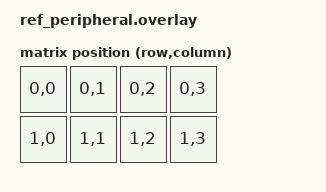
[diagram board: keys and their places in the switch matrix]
/*
 * Minimal split PERIPHERAL shield, used only by CI.
 *
 * Same fictional matrix as the dongle, and the same shared keymap: the point of
 * this target is that a peripheral compiles every binding the keymap names
 * while having no display shield, no theme nodes and no dial.
 *
 * The 2x2 matrix is a fiction. ZMK requires a transform and a keymap of
 * matching size; four positions satisfy that and leave room to bind this
 * module's behaviours as they arrive.
 */

#include <dt-bindings/zmk/matrix_transform.h>

/ {
    chosen {
        zmk,kscan = &mock_kscan0;
        /* Defining the transform is not enough — ZMK resolves
         * zmk_matrix_transform_default through this chosen entry, and the link
         * fails on an undefined reference without it. */
        zmk,matrix-transform = &keymap_transform_0;
    };

    keymap_transform_0: keymap_transform_0 {
        compatible = "zmk,matrix-transform";
        columns = <4>;
        rows = <2>;
        map = <
RC(0,0) RC(0,1) RC(0,2) RC(0,3)
RC(1,0) RC(1,1) RC(1,2) RC(1,3)
        >;
    };

    mock_kscan0: mock_kscan0 {
        compatible = "zmk,kscan-mock";
        columns = <0>;
        rows = <0>;
        events = <0>;
    };
};
